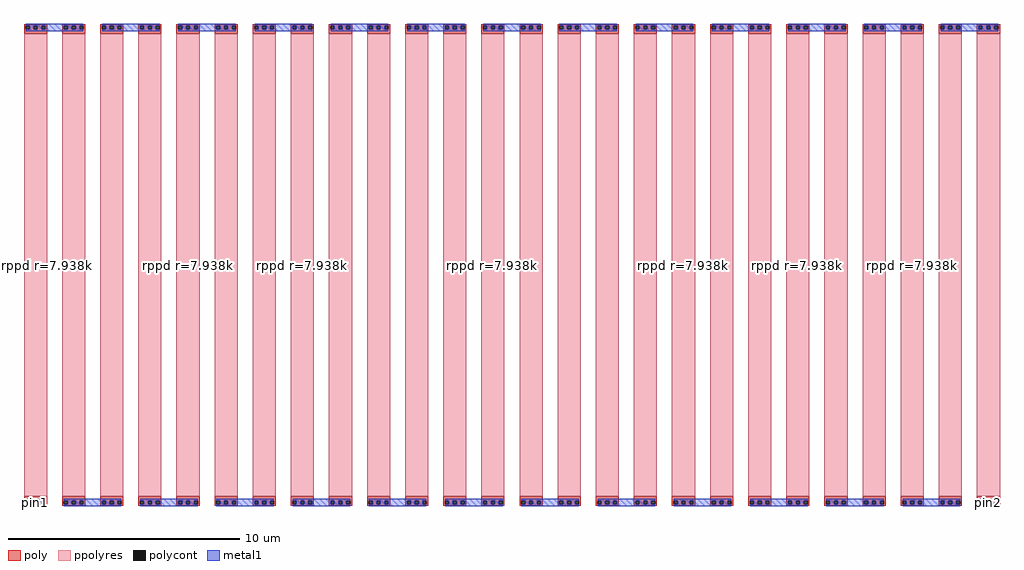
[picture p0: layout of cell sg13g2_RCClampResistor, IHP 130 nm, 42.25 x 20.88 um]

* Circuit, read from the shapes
.subckt sg13g2_RCClampResistor pin1 pin2
XR1 n1 pin1 ppolyres w=1u l=20u
XR2 n1 n2 ppolyres w=1u l=20u
XR3 n3 n2 ppolyres w=1u l=20u
XR4 n3 n4 ppolyres w=1u l=20u
XR5 n5 n4 ppolyres w=1u l=20u
XR6 n5 n6 ppolyres w=1u l=20u
XR7 n7 n6 ppolyres w=1u l=20u
XR8 n7 n8 ppolyres w=1u l=20u
XR9 n9 n8 ppolyres w=1u l=20u
XR10 n9 n10 ppolyres w=1u l=20u
XR11 n11 n10 ppolyres w=1u l=20u
XR12 n11 n12 ppolyres w=1u l=20u
XR13 n13 n12 ppolyres w=1u l=20u
XR14 n13 n14 ppolyres w=1u l=20u
XR15 n15 n14 ppolyres w=1u l=20u
XR16 n15 n16 ppolyres w=1u l=20u
XR17 n17 n16 ppolyres w=1u l=20u
XR18 n17 n18 ppolyres w=1u l=20u
XR19 n19 n18 ppolyres w=1u l=20u
XR20 n19 n20 ppolyres w=1u l=20u
XR21 n21 n20 ppolyres w=1u l=20u
XR22 n21 n22 ppolyres w=1u l=20u
XR23 n23 n22 ppolyres w=1u l=20u
XR24 n23 n24 ppolyres w=1u l=20u
XR25 n25 n24 ppolyres w=1u l=20u
XR26 n25 pin2 ppolyres w=1u l=20u
.ends

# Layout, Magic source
magic
tech ihp-sg13g2
<< poly >>
rect 0 2079 100 2086
rect 0 2063 8 2079
rect 24 2063 42 2079
rect 58 2063 76 2079
rect 92 2063 100 2079
rect 0 2043 100 2063
rect 0 23 100 43
rect 0 7 8 23
rect 24 7 42 23
rect 58 7 76 23
rect 92 7 100 23
rect 0 0 100 7
rect 165 2079 265 2086
rect 165 2063 173 2079
rect 189 2063 207 2079
rect 223 2063 241 2079
rect 257 2063 265 2079
rect 165 2043 265 2063
rect 165 23 265 43
rect 165 7 173 23
rect 189 7 207 23
rect 223 7 241 23
rect 257 7 265 23
rect 165 0 265 7
rect 330 2079 430 2086
rect 330 2063 338 2079
rect 354 2063 372 2079
rect 388 2063 406 2079
rect 422 2063 430 2079
rect 330 2043 430 2063
rect 330 23 430 43
rect 330 7 338 23
rect 354 7 372 23
rect 388 7 406 23
rect 422 7 430 23
rect 330 0 430 7
rect 495 2079 595 2086
rect 495 2063 503 2079
rect 519 2063 537 2079
rect 553 2063 571 2079
rect 587 2063 595 2079
rect 495 2043 595 2063
rect 495 23 595 43
rect 495 7 503 23
rect 519 7 537 23
rect 553 7 571 23
rect 587 7 595 23
rect 495 0 595 7
rect 660 2079 760 2086
rect 660 2063 668 2079
rect 684 2063 702 2079
rect 718 2063 736 2079
rect 752 2063 760 2079
rect 660 2043 760 2063
rect 660 23 760 43
rect 660 7 668 23
rect 684 7 702 23
rect 718 7 736 23
rect 752 7 760 23
rect 660 0 760 7
rect 825 2079 925 2086
rect 825 2063 833 2079
rect 849 2063 867 2079
rect 883 2063 901 2079
rect 917 2063 925 2079
rect 825 2043 925 2063
rect 825 23 925 43
rect 825 7 833 23
rect 849 7 867 23
rect 883 7 901 23
rect 917 7 925 23
rect 825 0 925 7
rect 990 2079 1090 2086
rect 990 2063 998 2079
rect 1014 2063 1032 2079
rect 1048 2063 1066 2079
rect 1082 2063 1090 2079
rect 990 2043 1090 2063
rect 990 23 1090 43
rect 990 7 998 23
rect 1014 7 1032 23
rect 1048 7 1066 23
rect 1082 7 1090 23
rect 990 0 1090 7
rect 1155 2079 1255 2086
rect 1155 2063 1163 2079
rect 1179 2063 1197 2079
rect 1213 2063 1231 2079
rect 1247 2063 1255 2079
rect 1155 2043 1255 2063
rect 1155 23 1255 43
rect 1155 7 1163 23
rect 1179 7 1197 23
rect 1213 7 1231 23
rect 1247 7 1255 23
rect 1155 0 1255 7
rect 1320 2079 1420 2086
rect 1320 2063 1328 2079
rect 1344 2063 1362 2079
rect 1378 2063 1396 2079
rect 1412 2063 1420 2079
rect 1320 2043 1420 2063
rect 1320 23 1420 43
rect 1320 7 1328 23
rect 1344 7 1362 23
rect 1378 7 1396 23
rect 1412 7 1420 23
rect 1320 0 1420 7
rect 1485 2079 1585 2086
rect 1485 2063 1493 2079
rect 1509 2063 1527 2079
rect 1543 2063 1561 2079
rect 1577 2063 1585 2079
rect 1485 2043 1585 2063
rect 1485 23 1585 43
rect 1485 7 1493 23
rect 1509 7 1527 23
rect 1543 7 1561 23
rect 1577 7 1585 23
rect 1485 0 1585 7
rect 1650 2079 1750 2086
rect 1650 2063 1658 2079
rect 1674 2063 1692 2079
rect 1708 2063 1726 2079
rect 1742 2063 1750 2079
rect 1650 2043 1750 2063
rect 1650 23 1750 43
rect 1650 7 1658 23
rect 1674 7 1692 23
rect 1708 7 1726 23
rect 1742 7 1750 23
rect 1650 0 1750 7
rect 1815 2079 1915 2086
rect 1815 2063 1823 2079
rect 1839 2063 1857 2079
rect 1873 2063 1891 2079
rect 1907 2063 1915 2079
rect 1815 2043 1915 2063
rect 1815 23 1915 43
rect 1815 7 1823 23
rect 1839 7 1857 23
rect 1873 7 1891 23
rect 1907 7 1915 23
rect 1815 0 1915 7
rect 1980 2079 2080 2086
rect 1980 2063 1988 2079
rect 2004 2063 2022 2079
rect 2038 2063 2056 2079
rect 2072 2063 2080 2079
rect 1980 2043 2080 2063
rect 1980 23 2080 43
rect 1980 7 1988 23
rect 2004 7 2022 23
rect 2038 7 2056 23
rect 2072 7 2080 23
rect 1980 0 2080 7
rect 2145 2079 2245 2086
rect 2145 2063 2153 2079
rect 2169 2063 2187 2079
rect 2203 2063 2221 2079
rect 2237 2063 2245 2079
rect 2145 2043 2245 2063
rect 2145 23 2245 43
rect 2145 7 2153 23
rect 2169 7 2187 23
rect 2203 7 2221 23
rect 2237 7 2245 23
rect 2145 0 2245 7
rect 2310 2079 2410 2086
rect 2310 2063 2318 2079
rect 2334 2063 2352 2079
rect 2368 2063 2386 2079
rect 2402 2063 2410 2079
rect 2310 2043 2410 2063
rect 2310 23 2410 43
rect 2310 7 2318 23
rect 2334 7 2352 23
rect 2368 7 2386 23
rect 2402 7 2410 23
rect 2310 0 2410 7
rect 2475 2079 2575 2086
rect 2475 2063 2483 2079
rect 2499 2063 2517 2079
rect 2533 2063 2551 2079
rect 2567 2063 2575 2079
rect 2475 2043 2575 2063
rect 2475 23 2575 43
rect 2475 7 2483 23
rect 2499 7 2517 23
rect 2533 7 2551 23
rect 2567 7 2575 23
rect 2475 0 2575 7
rect 2640 2079 2740 2086
rect 2640 2063 2648 2079
rect 2664 2063 2682 2079
rect 2698 2063 2716 2079
rect 2732 2063 2740 2079
rect 2640 2043 2740 2063
rect 2640 23 2740 43
rect 2640 7 2648 23
rect 2664 7 2682 23
rect 2698 7 2716 23
rect 2732 7 2740 23
rect 2640 0 2740 7
rect 2805 2079 2905 2086
rect 2805 2063 2813 2079
rect 2829 2063 2847 2079
rect 2863 2063 2881 2079
rect 2897 2063 2905 2079
rect 2805 2043 2905 2063
rect 2805 23 2905 43
rect 2805 7 2813 23
rect 2829 7 2847 23
rect 2863 7 2881 23
rect 2897 7 2905 23
rect 2805 0 2905 7
rect 2970 2079 3070 2086
rect 2970 2063 2978 2079
rect 2994 2063 3012 2079
rect 3028 2063 3046 2079
rect 3062 2063 3070 2079
rect 2970 2043 3070 2063
rect 2970 23 3070 43
rect 2970 7 2978 23
rect 2994 7 3012 23
rect 3028 7 3046 23
rect 3062 7 3070 23
rect 2970 0 3070 7
rect 3135 2079 3235 2086
rect 3135 2063 3143 2079
rect 3159 2063 3177 2079
rect 3193 2063 3211 2079
rect 3227 2063 3235 2079
rect 3135 2043 3235 2063
rect 3135 23 3235 43
rect 3135 7 3143 23
rect 3159 7 3177 23
rect 3193 7 3211 23
rect 3227 7 3235 23
rect 3135 0 3235 7
rect 3300 2079 3400 2086
rect 3300 2063 3308 2079
rect 3324 2063 3342 2079
rect 3358 2063 3376 2079
rect 3392 2063 3400 2079
rect 3300 2043 3400 2063
rect 3300 23 3400 43
rect 3300 7 3308 23
rect 3324 7 3342 23
rect 3358 7 3376 23
rect 3392 7 3400 23
rect 3300 0 3400 7
rect 3465 2079 3565 2086
rect 3465 2063 3473 2079
rect 3489 2063 3507 2079
rect 3523 2063 3541 2079
rect 3557 2063 3565 2079
rect 3465 2043 3565 2063
rect 3465 23 3565 43
rect 3465 7 3473 23
rect 3489 7 3507 23
rect 3523 7 3541 23
rect 3557 7 3565 23
rect 3465 0 3565 7
rect 3630 2079 3730 2086
rect 3630 2063 3638 2079
rect 3654 2063 3672 2079
rect 3688 2063 3706 2079
rect 3722 2063 3730 2079
rect 3630 2043 3730 2063
rect 3630 23 3730 43
rect 3630 7 3638 23
rect 3654 7 3672 23
rect 3688 7 3706 23
rect 3722 7 3730 23
rect 3630 0 3730 7
rect 3795 2079 3895 2086
rect 3795 2063 3803 2079
rect 3819 2063 3837 2079
rect 3853 2063 3871 2079
rect 3887 2063 3895 2079
rect 3795 2043 3895 2063
rect 3795 23 3895 43
rect 3795 7 3803 23
rect 3819 7 3837 23
rect 3853 7 3871 23
rect 3887 7 3895 23
rect 3795 0 3895 7
rect 3960 2079 4060 2086
rect 3960 2063 3968 2079
rect 3984 2063 4002 2079
rect 4018 2063 4036 2079
rect 4052 2063 4060 2079
rect 3960 2043 4060 2063
rect 3960 23 4060 43
rect 3960 7 3968 23
rect 3984 7 4002 23
rect 4018 7 4036 23
rect 4052 7 4060 23
rect 3960 0 4060 7
rect 4125 2079 4225 2086
rect 4125 2063 4133 2079
rect 4149 2063 4167 2079
rect 4183 2063 4201 2079
rect 4217 2063 4225 2079
rect 4125 2043 4225 2063
rect 4125 23 4225 43
rect 4125 7 4133 23
rect 4149 7 4167 23
rect 4183 7 4201 23
rect 4217 7 4225 23
rect 4125 0 4225 7
<< polycont >>
rect 8 2063 24 2079
rect 42 2063 58 2079
rect 76 2063 92 2079
rect 8 7 24 23
rect 42 7 58 23
rect 76 7 92 23
rect 173 2063 189 2079
rect 207 2063 223 2079
rect 241 2063 257 2079
rect 173 7 189 23
rect 207 7 223 23
rect 241 7 257 23
rect 338 2063 354 2079
rect 372 2063 388 2079
rect 406 2063 422 2079
rect 338 7 354 23
rect 372 7 388 23
rect 406 7 422 23
rect 503 2063 519 2079
rect 537 2063 553 2079
rect 571 2063 587 2079
rect 503 7 519 23
rect 537 7 553 23
rect 571 7 587 23
rect 668 2063 684 2079
rect 702 2063 718 2079
rect 736 2063 752 2079
rect 668 7 684 23
rect 702 7 718 23
rect 736 7 752 23
rect 833 2063 849 2079
rect 867 2063 883 2079
rect 901 2063 917 2079
rect 833 7 849 23
rect 867 7 883 23
rect 901 7 917 23
rect 998 2063 1014 2079
rect 1032 2063 1048 2079
rect 1066 2063 1082 2079
rect 998 7 1014 23
rect 1032 7 1048 23
rect 1066 7 1082 23
rect 1163 2063 1179 2079
rect 1197 2063 1213 2079
rect 1231 2063 1247 2079
rect 1163 7 1179 23
rect 1197 7 1213 23
rect 1231 7 1247 23
rect 1328 2063 1344 2079
rect 1362 2063 1378 2079
rect 1396 2063 1412 2079
rect 1328 7 1344 23
rect 1362 7 1378 23
rect 1396 7 1412 23
rect 1493 2063 1509 2079
rect 1527 2063 1543 2079
rect 1561 2063 1577 2079
rect 1493 7 1509 23
rect 1527 7 1543 23
rect 1561 7 1577 23
rect 1658 2063 1674 2079
rect 1692 2063 1708 2079
rect 1726 2063 1742 2079
rect 1658 7 1674 23
rect 1692 7 1708 23
rect 1726 7 1742 23
rect 1823 2063 1839 2079
rect 1857 2063 1873 2079
rect 1891 2063 1907 2079
rect 1823 7 1839 23
rect 1857 7 1873 23
rect 1891 7 1907 23
rect 1988 2063 2004 2079
rect 2022 2063 2038 2079
rect 2056 2063 2072 2079
rect 1988 7 2004 23
rect 2022 7 2038 23
rect 2056 7 2072 23
rect 2153 2063 2169 2079
rect 2187 2063 2203 2079
rect 2221 2063 2237 2079
rect 2153 7 2169 23
rect 2187 7 2203 23
rect 2221 7 2237 23
rect 2318 2063 2334 2079
rect 2352 2063 2368 2079
rect 2386 2063 2402 2079
rect 2318 7 2334 23
rect 2352 7 2368 23
rect 2386 7 2402 23
rect 2483 2063 2499 2079
rect 2517 2063 2533 2079
rect 2551 2063 2567 2079
rect 2483 7 2499 23
rect 2517 7 2533 23
rect 2551 7 2567 23
rect 2648 2063 2664 2079
rect 2682 2063 2698 2079
rect 2716 2063 2732 2079
rect 2648 7 2664 23
rect 2682 7 2698 23
rect 2716 7 2732 23
rect 2813 2063 2829 2079
rect 2847 2063 2863 2079
rect 2881 2063 2897 2079
rect 2813 7 2829 23
rect 2847 7 2863 23
rect 2881 7 2897 23
rect 2978 2063 2994 2079
rect 3012 2063 3028 2079
rect 3046 2063 3062 2079
rect 2978 7 2994 23
rect 3012 7 3028 23
rect 3046 7 3062 23
rect 3143 2063 3159 2079
rect 3177 2063 3193 2079
rect 3211 2063 3227 2079
rect 3143 7 3159 23
rect 3177 7 3193 23
rect 3211 7 3227 23
rect 3308 2063 3324 2079
rect 3342 2063 3358 2079
rect 3376 2063 3392 2079
rect 3308 7 3324 23
rect 3342 7 3358 23
rect 3376 7 3392 23
rect 3473 2063 3489 2079
rect 3507 2063 3523 2079
rect 3541 2063 3557 2079
rect 3473 7 3489 23
rect 3507 7 3523 23
rect 3541 7 3557 23
rect 3638 2063 3654 2079
rect 3672 2063 3688 2079
rect 3706 2063 3722 2079
rect 3638 7 3654 23
rect 3672 7 3688 23
rect 3706 7 3722 23
rect 3803 2063 3819 2079
rect 3837 2063 3853 2079
rect 3871 2063 3887 2079
rect 3803 7 3819 23
rect 3837 7 3853 23
rect 3871 7 3887 23
rect 3968 2063 3984 2079
rect 4002 2063 4018 2079
rect 4036 2063 4052 2079
rect 3968 7 3984 23
rect 4002 7 4018 23
rect 4036 7 4052 23
rect 4133 2063 4149 2079
rect 4167 2063 4183 2079
rect 4201 2063 4217 2079
rect 4133 7 4149 23
rect 4167 7 4183 23
rect 4201 7 4217 23
<< ppolyres >>
rect 0 43 100 2043
rect 165 43 265 2043
rect 330 43 430 2043
rect 495 43 595 2043
rect 660 43 760 2043
rect 825 43 925 2043
rect 990 43 1090 2043
rect 1155 43 1255 2043
rect 1320 43 1420 2043
rect 1485 43 1585 2043
rect 1650 43 1750 2043
rect 1815 43 1915 2043
rect 1980 43 2080 2043
rect 2145 43 2245 2043
rect 2310 43 2410 2043
rect 2475 43 2575 2043
rect 2640 43 2740 2043
rect 2805 43 2905 2043
rect 2970 43 3070 2043
rect 3135 43 3235 2043
rect 3300 43 3400 2043
rect 3465 43 3565 2043
rect 3630 43 3730 2043
rect 3795 43 3895 2043
rect 3960 43 4060 2043
rect 4125 43 4225 2043
<< metal1 >>
rect 8 2079 257 2087
rect 24 2063 42 2079
rect 58 2063 76 2079
rect 92 2063 173 2079
rect 189 2063 207 2079
rect 223 2063 241 2079
rect 8 2055 257 2063
rect 338 2079 587 2087
rect 354 2063 372 2079
rect 388 2063 406 2079
rect 422 2063 503 2079
rect 519 2063 537 2079
rect 553 2063 571 2079
rect 338 2055 587 2063
rect 668 2079 917 2087
rect 684 2063 702 2079
rect 718 2063 736 2079
rect 752 2063 833 2079
rect 849 2063 867 2079
rect 883 2063 901 2079
rect 668 2055 917 2063
rect 998 2079 1247 2087
rect 1014 2063 1032 2079
rect 1048 2063 1066 2079
rect 1082 2063 1163 2079
rect 1179 2063 1197 2079
rect 1213 2063 1231 2079
rect 998 2055 1247 2063
rect 1328 2079 1577 2087
rect 1344 2063 1362 2079
rect 1378 2063 1396 2079
rect 1412 2063 1493 2079
rect 1509 2063 1527 2079
rect 1543 2063 1561 2079
rect 1328 2055 1577 2063
rect 1658 2079 1907 2087
rect 1674 2063 1692 2079
rect 1708 2063 1726 2079
rect 1742 2063 1823 2079
rect 1839 2063 1857 2079
rect 1873 2063 1891 2079
rect 1658 2055 1907 2063
rect 1988 2079 2237 2087
rect 2004 2063 2022 2079
rect 2038 2063 2056 2079
rect 2072 2063 2153 2079
rect 2169 2063 2187 2079
rect 2203 2063 2221 2079
rect 1988 2055 2237 2063
rect 2318 2079 2567 2087
rect 2334 2063 2352 2079
rect 2368 2063 2386 2079
rect 2402 2063 2483 2079
rect 2499 2063 2517 2079
rect 2533 2063 2551 2079
rect 2318 2055 2567 2063
rect 2648 2079 2897 2087
rect 2664 2063 2682 2079
rect 2698 2063 2716 2079
rect 2732 2063 2813 2079
rect 2829 2063 2847 2079
rect 2863 2063 2881 2079
rect 2648 2055 2897 2063
rect 2978 2079 3227 2087
rect 2994 2063 3012 2079
rect 3028 2063 3046 2079
rect 3062 2063 3143 2079
rect 3159 2063 3177 2079
rect 3193 2063 3211 2079
rect 2978 2055 3227 2063
rect 3308 2079 3557 2087
rect 3324 2063 3342 2079
rect 3358 2063 3376 2079
rect 3392 2063 3473 2079
rect 3489 2063 3507 2079
rect 3523 2063 3541 2079
rect 3308 2055 3557 2063
rect 3638 2079 3887 2087
rect 3654 2063 3672 2079
rect 3688 2063 3706 2079
rect 3722 2063 3803 2079
rect 3819 2063 3837 2079
rect 3853 2063 3871 2079
rect 3638 2055 3887 2063
rect 3968 2079 4217 2087
rect 3984 2063 4002 2079
rect 4018 2063 4036 2079
rect 4052 2063 4133 2079
rect 4149 2063 4167 2079
rect 4183 2063 4201 2079
rect 3968 2055 4217 2063
rect 8 23 92 31
rect 24 7 42 23
rect 58 7 76 23
rect 8 -1 92 7
rect 173 23 422 31
rect 189 7 207 23
rect 223 7 241 23
rect 257 7 338 23
rect 354 7 372 23
rect 388 7 406 23
rect 173 -1 422 7
rect 503 23 752 31
rect 519 7 537 23
rect 553 7 571 23
rect 587 7 668 23
rect 684 7 702 23
rect 718 7 736 23
rect 503 -1 752 7
rect 833 23 1082 31
rect 849 7 867 23
rect 883 7 901 23
rect 917 7 998 23
rect 1014 7 1032 23
rect 1048 7 1066 23
rect 833 -1 1082 7
rect 1163 23 1412 31
rect 1179 7 1197 23
rect 1213 7 1231 23
rect 1247 7 1328 23
rect 1344 7 1362 23
rect 1378 7 1396 23
rect 1163 -1 1412 7
rect 1493 23 1742 31
rect 1509 7 1527 23
rect 1543 7 1561 23
rect 1577 7 1658 23
rect 1674 7 1692 23
rect 1708 7 1726 23
rect 1493 -1 1742 7
rect 1823 23 2072 31
rect 1839 7 1857 23
rect 1873 7 1891 23
rect 1907 7 1988 23
rect 2004 7 2022 23
rect 2038 7 2056 23
rect 1823 -1 2072 7
rect 2153 23 2402 31
rect 2169 7 2187 23
rect 2203 7 2221 23
rect 2237 7 2318 23
rect 2334 7 2352 23
rect 2368 7 2386 23
rect 2153 -1 2402 7
rect 2483 23 2732 31
rect 2499 7 2517 23
rect 2533 7 2551 23
rect 2567 7 2648 23
rect 2664 7 2682 23
rect 2698 7 2716 23
rect 2483 -1 2732 7
rect 2813 23 3062 31
rect 2829 7 2847 23
rect 2863 7 2881 23
rect 2897 7 2978 23
rect 2994 7 3012 23
rect 3028 7 3046 23
rect 2813 -1 3062 7
rect 3143 23 3392 31
rect 3159 7 3177 23
rect 3193 7 3211 23
rect 3227 7 3308 23
rect 3324 7 3342 23
rect 3358 7 3376 23
rect 3143 -1 3392 7
rect 3473 23 3722 31
rect 3489 7 3507 23
rect 3523 7 3541 23
rect 3557 7 3638 23
rect 3654 7 3672 23
rect 3688 7 3706 23
rect 3473 -1 3722 7
rect 3803 23 4052 31
rect 3819 7 3837 23
rect 3853 7 3871 23
rect 3887 7 3968 23
rect 3984 7 4002 23
rect 4018 7 4036 23
rect 3803 -1 4052 7
rect 4133 23 4217 31
rect 4149 7 4167 23
rect 4183 7 4201 23
rect 4133 -1 4217 7
<< labels >>
rlabel comment s 3350 1043 3350 1043 4 rppd r=7.938k
rlabel comment s 710 1043 710 1043 4 rppd r=7.938k
rlabel comment s 3680 1043 3680 1043 4 rppd r=7.938k
rlabel comment s 1040 1043 1040 1043 4 rppd r=7.938k
rlabel comment s 3020 1043 3020 1043 4 rppd r=7.938k
rlabel comment s 50 1043 50 1043 4 rppd r=7.938k
rlabel comment s 2855 1043 2855 1043 4 rppd r=7.938k
rlabel comment s 380 1043 380 1043 4 rppd r=7.938k
rlabel comment s 2030 1043 2030 1043 4 rppd r=7.938k
rlabel comment s 2195 1043 2195 1043 4 rppd r=7.938k
rlabel comment s 2360 1043 2360 1043 4 rppd r=7.938k
rlabel comment s 3185 1043 3185 1043 4 rppd r=7.938k
rlabel comment s 1205 1043 1205 1043 4 rppd r=7.938k
rlabel comment s 875 1043 875 1043 4 rppd r=7.938k
rlabel comment s 3515 1043 3515 1043 4 rppd r=7.938k
rlabel comment s 3845 1043 3845 1043 4 rppd r=7.938k
rlabel comment s 4175 1043 4175 1043 4 rppd r=7.938k
rlabel comment s 215 1043 215 1043 4 rppd r=7.938k
rlabel comment s 1700 1043 1700 1043 4 rppd r=7.938k
rlabel comment s 1535 1043 1535 1043 4 rppd r=7.938k
rlabel comment s 4010 1043 4010 1043 4 rppd r=7.938k
rlabel comment s 2525 1043 2525 1043 4 rppd r=7.938k
rlabel comment s 1370 1043 1370 1043 4 rppd r=7.938k
rlabel comment s 1865 1043 1865 1043 4 rppd r=7.938k
rlabel comment s 2690 1043 2690 1043 4 rppd r=7.938k
rlabel comment s 545 1043 545 1043 4 rppd r=7.938k
rlabel metal1 s 4133 -1 4217 31 4 pin2
port 2 nsew
rlabel metal1 s 8 -1 92 31 4 pin1
port 1 nsew
<< properties >>
string device primitive
string GDS_END 548860
string GDS_FILE sg13g2_io.gds
string GDS_START 533780
<< end >>
